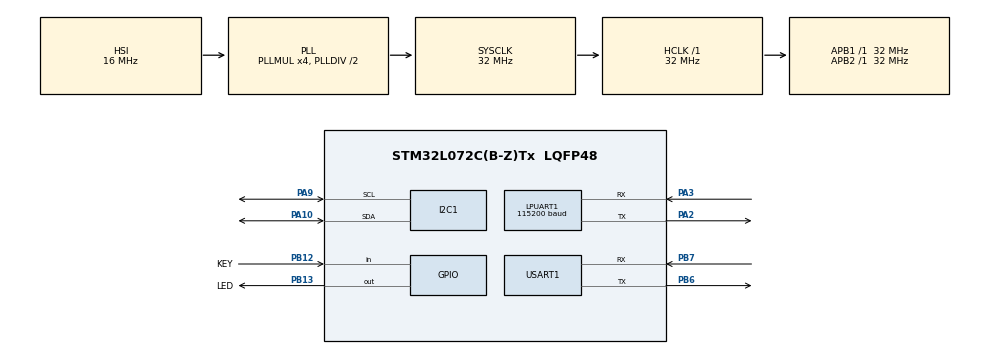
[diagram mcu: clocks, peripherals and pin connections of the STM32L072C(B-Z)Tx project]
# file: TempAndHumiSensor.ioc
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I2C1.Timing=0x00707CBB
LPUART1.BaudRate=115200
LPUART1.WordLength=UART_WORDLENGTH_8B
Mcu.Family=STM32L0
Mcu.Name=STM32L072C(B-Z)Tx
Mcu.Package=LQFP48
NVIC.RNG_LPUART1_IRQn=true\:0\:0\:false\:false\:true\:true\:true\:true
NVIC.TIM2_IRQn=true\:0\:0\:false\:false\:true\:true\:true\:true
NVIC.TIM3_IRQn=true\:0\:0\:false\:false\:true\:true\:true\:true
NVIC.USART1_IRQn=true\:0\:0\:false\:false\:true\:true\:true\:true
PA10.Mode=I2C
PA10.Signal=I2C1_SDA
PA13.Mode=Serial_Wire
PA13.Signal=SYS_SWDIO
PA14.Mode=Serial_Wire
PA14.Signal=SYS_SWCLK
PA2.Mode=Asynchronous
PA2.Signal=LPUART1_TX
PA3.Mode=Asynchronous
PA3.Signal=LPUART1_RX
PA9.Mode=I2C
PA9.Signal=I2C1_SCL
PB12.GPIO_Label=KEY
PB12.Signal=GPIO_Input
PB13.GPIO_Label=LED
PB13.Signal=GPIO_Output
PB6.Mode=Asynchronous
PB6.Signal=USART1_TX
PB7.Mode=Asynchronous
PB7.Signal=USART1_RX
PC14-OSC32_IN.Mode=LSE-External-Oscillator
PC14-OSC32_IN.Signal=RCC_OSC32_IN
PC15-OSC32_OUT.Mode=LSE-External-Oscillator
PC15-OSC32_OUT.Signal=RCC_OSC32_OUT
PH0-OSC_IN.Mode=HSE-External-Oscillator
PH0-OSC_IN.Signal=RCC_OSC_IN
PH1-OSC_OUT.Mode=HSE-External-Oscillator
PH1-OSC_OUT.Signal=RCC_OSC_OUT
ProjectManager.HeapSize=0x200
ProjectManager.StackSize=0x400
ProjectManager.TargetToolchain=STM32CubeIDE
RCC.AHBFreq_Value=32000000
RCC.APB1Freq_Value=32000000
RCC.APB1TimFreq_Value=32000000
RCC.APB2Freq_Value=32000000
RCC.APB2TimFreq_Value=32000000
RCC.HCLKFreq_Value=32000000
RCC.HSE_VALUE=8000000
RCC.HSI16_VALUE=16000000
RCC.HSI48_VALUE=48000000
RCC.HSI_VALUE=16000000
RCC.MSI_VALUE=2097000
RCC.PLLMUL=RCC_PLLMUL_4
RCC.RTCClockSelection=RCC_RTCCLKSOURCE_LSE
RCC.RTCClockSelectionVirtual=RCC_RTCCLKSOURCE_LSE
RCC.SYSCLKFreq_VALUE=32000000
RCC.SYSCLKSource=RCC_SYSCLKSOURCE_PLLCLK
RCC.VCOOutputFreq_Value=64000000
TIM2.Period=99
TIM2.Prescaler=31
USART1.VirtualMode-Asynchronous=VM_ASYNC
VP_RTC_VS_RTC_Activate.Mode=RTC_Enabled
VP_TIM2_VS_ClockSourceINT.Mode=Internal
VP_TIM3_VS_ClockSourceINT.Mode=Internal
board=custom

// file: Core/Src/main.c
/* USER CODE BEGIN Header */
/**
 ******************************************************************************
 * @file           : main.c
 * @brief          : Main program body
 ******************************************************************************
 * @attention
 *
 * Copyright (c) 2022 STMicroelectronics.
 * All rights reserved.
 *
 * This software is licensed under terms that can be found in the LICENSE file
 * in the root directory of this software component.
 * If no LICENSE file comes with this software, it is provided AS-IS.
 *
 ******************************************************************************
 */
/* USER CODE END Header */
#include "main.h"
#include "i2c.h"
#include "usart.h"
#include "rtc.h"
#include "tim.h"
#include "gpio.h"

/* USER CODE BEGIN Includes */
#include "sht3x.h"
#include "i2c_bsp.h"
#include "mb.h"
#include "user_mb.h"
/* USER CODE END Includes */

void SystemClock_Config(void);

int main(void) {

	/* MCU Configuration--------------------------------------------------------*/

	/* Reset of all peripherals, Initializes the Flash interface and the Systick. */
	HAL_Init();

	/* Configure the system clock */
	SystemClock_Config();

	/* Initialize all configured peripherals */
	MX_GPIO_Init();
	MX_I2C1_Init();
	MX_LPUART1_UART_Init();
	MX_USART1_UART_Init();
	MX_RTC_Init();
	MX_TIM2_Init();
	MX_TIM3_Init();
	/* USER CODE BEGIN 2 */

	i2c_init();
	SHT_begin(&sht31);
	SHT_reset(&sht31);
	eMBInit(MB_RTU, 1, 0, 115200, MB_PAR_NONE);
	eMBEnable();
	uint32_t mesure_sensor = HAL_GetTick();
	/* USER CODE END 2 */

	/* Infinite loop */
	/* USER CODE BEGIN WHILE */
	while (1) {
		eMBPoll();
		if (HAL_GetTick() - mesure_sensor > 1000) {
			SHT_mesure(&sht31);
			usSRegInBuf[TEMP_ADDR] = SHT_read_temp(&sht31)*100;
			usSRegInBuf[HUMI_ADDR] = SHT_read_humi(&sht31)*100;
			mesure_sensor = HAL_GetTick();
		}
		/* USER CODE END WHILE */

	}
}

void SystemClock_Config(void) {
	RCC_OscInitTypeDef RCC_OscInitStruct = { 0 };
	RCC_ClkInitTypeDef RCC_ClkInitStruct = { 0 };
	RCC_PeriphCLKInitTypeDef PeriphClkInit = { 0 };

	/** Configure the main internal regulator output voltage
	 */
	__HAL_PWR_VOLTAGESCALING_CONFIG(PWR_REGULATOR_VOLTAGE_SCALE1);

	/** Configure LSE Drive Capability
	 */
	HAL_PWR_EnableBkUpAccess();
	__HAL_RCC_LSEDRIVE_CONFIG(RCC_LSEDRIVE_LOW);

	/** Initializes the RCC Oscillators according to the specified parameters
	 * in the RCC_OscInitTypeDef structure.
	 */
	RCC_OscInitStruct.OscillatorType = RCC_OSCILLATORTYPE_HSI
			| RCC_OSCILLATORTYPE_LSE;
	RCC_OscInitStruct.LSEState = RCC_LSE_ON;
	RCC_OscInitStruct.HSIState = RCC_HSI_ON;
	RCC_OscInitStruct.HSICalibrationValue = RCC_HSICALIBRATION_DEFAULT;
	RCC_OscInitStruct.PLL.PLLState = RCC_PLL_ON;
	RCC_OscInitStruct.PLL.PLLSource = RCC_PLLSOURCE_HSI;
	RCC_OscInitStruct.PLL.PLLMUL = RCC_PLLMUL_4;
	RCC_OscInitStruct.PLL.PLLDIV = RCC_PLLDIV_2;
	if (HAL_RCC_OscConfig(&RCC_OscInitStruct) != HAL_OK) {
		Error_Handler();
	}

	/** Initializes the CPU, AHB and APB buses clocks
	 */
	RCC_ClkInitStruct.ClockType = RCC_CLOCKTYPE_HCLK | RCC_CLOCKTYPE_SYSCLK
			| RCC_CLOCKTYPE_PCLK1 | RCC_CLOCKTYPE_PCLK2;
	RCC_ClkInitStruct.SYSCLKSource = RCC_SYSCLKSOURCE_PLLCLK;
	RCC_ClkInitStruct.AHBCLKDivider = RCC_SYSCLK_DIV1;
	RCC_ClkInitStruct.APB1CLKDivider = RCC_HCLK_DIV1;
	RCC_ClkInitStruct.APB2CLKDivider = RCC_HCLK_DIV1;

	if (HAL_RCC_ClockConfig(&RCC_ClkInitStruct, FLASH_LATENCY_1) != HAL_OK) {
		Error_Handler();
	}
	PeriphClkInit.PeriphClockSelection = RCC_PERIPHCLK_USART1
			| RCC_PERIPHCLK_LPUART1 | RCC_PERIPHCLK_I2C1 | RCC_PERIPHCLK_RTC;
	PeriphClkInit.Usart1ClockSelection = RCC_USART1CLKSOURCE_PCLK2;
	PeriphClkInit.Lpuart1ClockSelection = RCC_LPUART1CLKSOURCE_PCLK1;
	PeriphClkInit.I2c1ClockSelection = RCC_I2C1CLKSOURCE_PCLK1;
	PeriphClkInit.RTCClockSelection = RCC_RTCCLKSOURCE_LSE;
	if (HAL_RCCEx_PeriphCLKConfig(&PeriphClkInit) != HAL_OK) {
		Error_Handler();
	}
}

/* USER CODE BEGIN 4 */
void HAL_UART_RxCpltCallback(UART_HandleTypeDef *huart) {

	prvvUARTRxISR();
}
void HAL_UART_RxHalfCpltCallback(UART_HandleTypeDef *huart) {
	prvvUARTTxReadyISR();
}
void HAL_TIM_PeriodElapsedCallback(TIM_HandleTypeDef *htim) {
	prvvTIMERExpiredISR();
}
/* USER CODE END 4 */

void Error_Handler(void) {
	__disable_irq();
	while (1) {
	}
}
